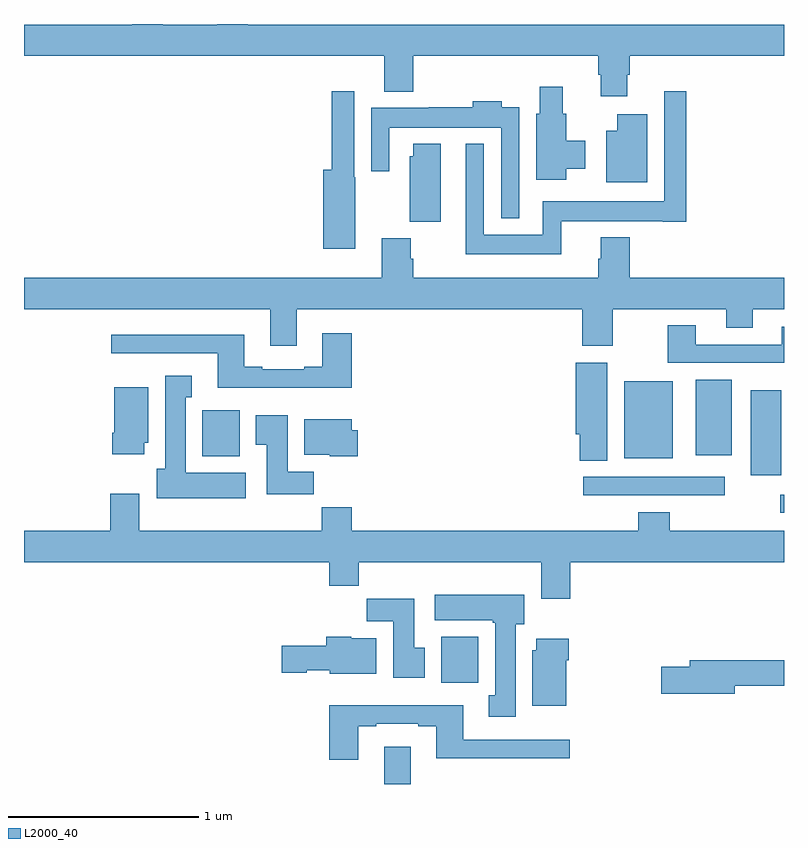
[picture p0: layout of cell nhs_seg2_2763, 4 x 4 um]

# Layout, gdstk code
import gdstk
lib = gdstk.Library(unit=1e-6, precision=1e-09)
def R(c, l, rs):  # rectangles x0, y0, x1, y1
    for r in rs: c.add(gdstk.rectangle(r[:2], r[2:], *l))
def P(c, l, *ps):  # polygons
    for p in ps: c.add(gdstk.Polygon(p, *l))
L2000_40 = (2000, 40)

nhs_seg2_2763 = lib.new_cell('nhs_seg2_2763')
R(nhs_seg2_2763, L2000_40, [(256.895,647.8,257.035,647.995), (257.195,648.332,257.392,648.574), (258.981,649.227,259,649.323), (257.943,649.32,258.688,649.416), (258.824,649.425,258.985,649.873), (258.158,649.514,258.415,649.921), (255.938,649.526,256.135,649.768), (258.536,649.529,258.724,649.927)])
P(nhs_seg2_2763, L2000_40, [(258.175,651.534),(258.188,651.534),(258.188,651.632),(259,651.632),(259,651.796),(256.178,651.796),(256.178,651.8),(256.017,651.8),(256.017,651.796),(255.729,651.796),(255.729,651.8),(255.569,651.8),(255.569,651.796),(255,651.796),(255,651.632),(256.895,651.632),(256.895,651.443),(257.048,651.443),(257.048,651.632),(258.023,651.632),(258.023,651.534),(258.035,651.534),(258.035,651.42),(258.175,651.42)],
  [(257.854,651.038),(257.953,651.038),(257.953,651.186),(257.854,651.186),(257.854,651.327),(257.836,651.327),(257.836,651.469),(257.714,651.469),(257.714,651.327),(257.696,651.327),(257.696,650.979),(257.854,650.979)],
  [(257.828,650.762),(258.362,650.762),(258.362,650.76),(258.485,650.76),(258.485,651.445),(258.369,651.445),(258.369,650.866),(257.73,650.866),(257.73,650.692),(257.421,650.692),(257.421,651.169),(257.324,651.169),(257.324,650.588),(257.828,650.588)],
  [(256.744,650.994),(256.737,650.994),(256.737,651.445),(256.621,651.445),(256.621,651.034),(256.574,651.034),(256.574,650.618),(256.744,650.618)],
  [(257.607,651.361),(257.515,651.361),(257.515,651.394),(257.363,651.394),(257.363,651.361),(257.131,651.361),(257.131,651.358),(256.827,651.358),(256.827,651.024),(256.923,651.024),(256.923,651.254),(257.511,651.254),(257.511,650.777),(257.607,650.777)],
  [(258.28,651.325),(258.122,651.325),(258.122,651.238),(258.065,651.238),(258.065,650.966),(258.28,650.966)],
  [(257.194,651.169),(257.048,651.169),(257.048,651.105),(257.03,651.105),(257.03,650.758),(257.194,650.758)],
  [(256.883,650.673),(256.883,650.464),(255,650.464),(255,650.3),(256.295,650.3),(256.295,650.106),(256.435,650.106),(256.435,650.3),(257.939,650.3),(257.939,650.106),(258.099,650.106),(258.099,650.3),(258.695,650.3),(258.695,650.201),(258.835,650.201),(258.835,650.3),(259,650.3),(259,650.464),(258.188,650.464),(258.188,650.677),(258.035,650.677),(258.035,650.565),(258.023,650.565),(258.023,650.464),(257.048,650.464),(257.048,650.564),(257.035,650.564),(257.035,650.673)],
  [(259,650.206),(258.989,650.206),(258.989,650.112),(258.535,650.112),(258.535,650.215),(258.388,650.215),(258.388,650.016),(259,650.016)],
  [(256.724,650.173),(256.571,650.173),(256.571,649.996),(256.475,649.996),(256.475,649.983),(256.255,649.983),(256.255,649.996),(256.159,649.996),(256.159,650.164),(255.459,650.164),(255.459,650.067),(256.019,650.067),(256.019,649.886),(256.724,649.886)],
  [(258.07,650.017),(257.903,650.017),(257.903,649.641),(257.924,649.641),(257.924,649.501),(258.07,649.501)],
  [(256.168,649.438),(255.85,649.438),(255.85,649.835),(255.883,649.835),(255.883,649.948),(255.743,649.948),(255.743,649.458),(255.698,649.458),(255.698,649.304),(256.168,649.304)],
  [(255.634,649.596),(255.655,649.596),(255.655,649.888),(255.476,649.888),(255.476,649.648),(255.464,649.648),(255.464,649.536),(255.634,649.536)],
  [(256.526,649.444),(256.387,649.444),(256.387,649.741),(256.22,649.741),(256.22,649.585),(256.277,649.585),(256.277,649.326),(256.526,649.326)],
  [(256.757,649.662),(256.726,649.662),(256.726,649.72),(256.475,649.72),(256.475,649.532),(256.608,649.532),(256.608,649.526),(256.757,649.526)],
  [(257.876,648.968),(259,648.968),(259,649.132),(258.398,649.132),(258.398,649.231),(258.233,649.231),(258.233,649.132),(256.724,649.132),(256.724,649.256),(256.567,649.256),(256.567,649.132),(255.607,649.132),(255.607,649.327),(255.455,649.327),(255.455,649.132),(255,649.132),(255,648.968),(256.607,648.968),(256.607,648.844),(256.763,648.844),(256.763,648.968),(257.723,648.968),(257.723,648.774),(257.876,648.774)],
  [(257.587,648.642),(257.632,648.642),(257.632,648.796),(257.163,648.796),(257.163,648.662),(257.467,648.662),(257.467,648.649),(257.48,648.649),(257.48,648.266),(257.447,648.266),(257.447,648.153),(257.587,648.153)],
  [(257.11,648.516),(257.053,648.516),(257.053,648.775),(256.804,648.775),(256.804,648.656),(256.943,648.656),(256.943,648.36),(257.11,648.36)],
  [(256.855,648.568),(256.722,648.568),(256.722,648.574),(256.592,648.574),(256.592,648.528),(256.356,648.528),(256.356,648.386),(256.488,648.386),(256.488,648.398),(256.608,648.398),(256.608,648.38),(256.855,648.38)],
  [(257.854,648.452),(257.867,648.452),(257.867,648.565),(257.696,648.565),(257.696,648.504),(257.675,648.504),(257.675,648.212),(257.854,648.212)],
  [(258.742,648.316),(259,648.316),(259,648.452),(258.503,648.452),(258.503,648.416),(258.354,648.416),(258.354,648.274),(258.742,648.274)],
  [(256.759,648.105),(256.855,648.105),(256.855,648.117),(257.075,648.117),(257.075,648.105),(257.171,648.105),(257.171,647.936),(257.872,647.936),(257.872,648.033),(257.311,648.033),(257.311,648.214),(256.607,648.214),(256.607,647.928),(256.759,647.928)])

lib.write_gds('nhs_seg2_2763.gds')
